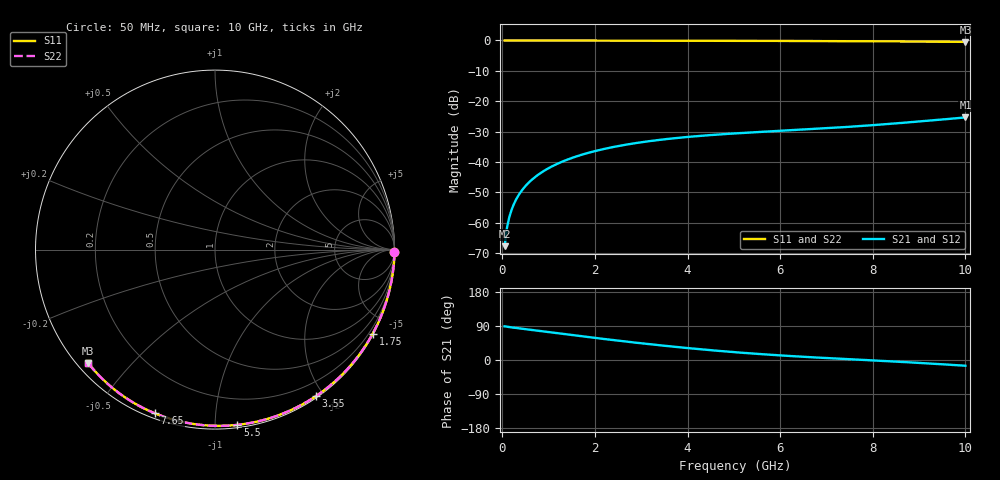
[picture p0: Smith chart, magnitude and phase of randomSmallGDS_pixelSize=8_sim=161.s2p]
! freq	dB(S11)	phase(S11)	dB(S12)	phase(S12)
!  dB(S21)	phase(S21)	dB(S22)	phase(S22)
!S-par simulation data
#  GHz  S  DB  R 50
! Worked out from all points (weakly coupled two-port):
!   200 points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, 50 MHz to 10 GHz, reference 50 ohm
!   highest |S21| = -25.36 dB at 10 GHz (marker M1); lowest = -67.8 dB at 50 MHz (marker M2)
!   lowest |S11| = -0.5 dB at 10 GHz (marker M3), VSWR 37.49, Z = 1.53 - j19 ohm
!   |S11| at or under -10 dB: nowhere
!   |S22| runs from -0.5 to 0.0 dB; largest |S21 - S12| = 0
!   S11 on the Smith chart (normalised r, x): 50 MHz: open; 1.75 GHz: 0.04, -4.01; 3.55 GHz: 0.02, -1.91; 5.5 GHz: 0.02, -1.14; 7.65 GHz: 0.02, -0.70; 10 GHz: 0.03, -0.38
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0.05  -0.00 -0.8  -67.76 88.9  -67.76 88.9  -0.00 -0.8
0.1  -0.00 -1.6  -61.76 87.9  -61.76 87.9  -0.00 -1.6
0.15  -0.00 -2.4  -58.27 86.9  -58.27 86.9  -0.00 -2.4
0.2  -0.00 -3.3  -55.80 86.1  -55.80 86.1  -0.00 -3.3
0.25  -0.00 -4.1  -53.89 85.3  -53.89 85.3  -0.00 -4.1
0.35  -0.00 -5.7  -51.01 83.7  -51.01 83.7  -0.00 -5.7
0.5  -0.01 -8.1  -47.96 81.4  -47.96 81.4  -0.01 -8.1
0.7  -0.01 -11.3  -45.08 78.3  -45.08 78.3  -0.01 -11.3
1  -0.02 -16.1  -42.07 73.7  -42.07 73.7  -0.02 -16.1
1.35  -0.03 -21.7  -39.57 68.2  -39.57 68.2  -0.03 -21.7
1.75  -0.04 -28.0  -37.49 62.1  -37.49 62.1  -0.04 -28.0
2.5  -0.05 -39.6  -34.79 51.1  -34.79 51.1  -0.05 -39.6
3.4  -0.07 -53.1  -32.74 38.9  -32.74 38.9  -0.07 -53.1
3.55  -0.08 -55.4  -32.47 37.0  -32.47 37.0  -0.08 -55.3
4.3  -0.10 -66.2  -31.40 28.1  -31.40 28.1  -0.10 -66.1
5.05  -0.12 -76.6  -30.60 20.3  -30.60 20.3  -0.12 -76.6
5.5  -0.14 -82.7  -30.19 16.2  -30.19 16.2  -0.14 -82.7
6.7  -0.19 -98.3  -29.18 7.1  -29.18 7.1  -0.19 -98.3
7.65  -0.25 -110.2  -28.28 1.1  -28.28 1.1  -0.25 -110.2
8.35  -0.30 -118.7  -27.49 -3.3  -27.49 -3.3  -0.30 -118.7
9.2  -0.38 -128.8  -26.43 -9.1  -26.43 -9.1  -0.38 -128.8
10  -0.46 -138.3  -25.36 -15.2  -25.36 -15.2  -0.46 -138.2
